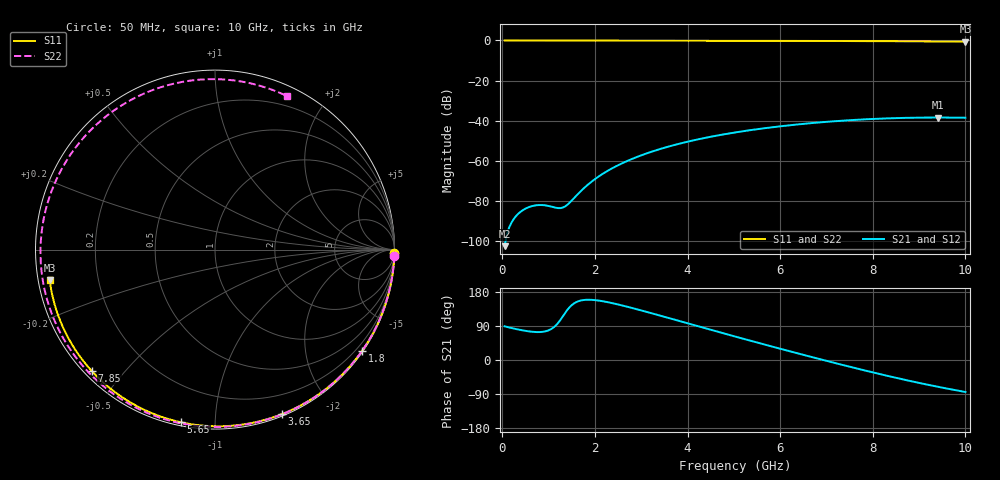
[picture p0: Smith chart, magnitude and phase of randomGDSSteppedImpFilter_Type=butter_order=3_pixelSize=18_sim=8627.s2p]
! freq	dB(S11)	phase(S11)	dB(S12)	phase(S12)
!  dB(S21)	phase(S21)	dB(S22)	phase(S22)
!S-par simulation data
#  GHz  S  DB  R 50
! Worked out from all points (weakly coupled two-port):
!   200 points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, 50 MHz to 10 GHz, reference 50 ohm
!   highest |S21| = -38.46 dB at 9.4 GHz (marker M1); lowest = -102.7 dB at 50 MHz (marker M2)
!   lowest |S11| = -0.6 dB at 10 GHz (marker M3), VSWR 30.55, Z = 1.65 - j4.54 ohm
!   |S11| at or under -10 dB: nowhere
!   |S22| runs from -0.5 to 0.0 dB; largest |S21 - S12| = 0
!   S11 on the Smith chart (normalised r, x): 50 MHz: open; 1.8 GHz: 0.03, -3.22; 3.65 GHz: 0.02, -1.49; 5.65 GHz: 0.02, -0.82; 7.85 GHz: 0.02, -0.41; 10 GHz: 0.03, -0.09
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0.05  -0.00 -1.0  -102.65 89.0  -102.65 89.0  -0.00 -2.0
0.7  -0.02 -13.6  -82.37 74.0  -82.37 74.0  -0.03 -27.1
1.1  -0.03 -21.2  -83.15 85.2  -83.15 85.2  -0.05 -42.1
1.5  -0.04 -28.8  -79.88 144.8  -79.88 144.8  -0.07 -56.7
1.75  -0.04 -33.5  -73.98 158.2  -73.98 158.2  -0.08 -65.5
1.8  -0.04 -34.5  -72.93 158.8  -72.93 158.8  -0.08 -67.2
2.1  -0.05 -40.0  -67.59 156.5  -67.59 156.5  -0.09 -77.4
2.45  -0.06 -46.5  -62.85 148.0  -62.85 148.0  -0.10 -88.9
2.9  -0.07 -54.6  -58.21 134.1  -58.21 134.1  -0.12 -103.0
3.4  -0.08 -63.5  -54.23 117.4  -54.23 117.4  -0.14 -117.8
3.65  -0.09 -67.9  -52.57 108.9  -52.57 108.9  -0.15 -124.9
4.35  -0.11 -79.8  -48.75 84.9  -48.75 84.9  -0.17 -144.1
5.05  -0.14 -91.4  -45.82 61.2  -45.82 61.2  -0.21 -162.4
5.65  -0.17 -101.1  -43.83 41.2  -43.83 41.2  -0.24 -177.7
6.15  -0.20 -109.0  -42.46 24.9  -42.46 24.9  -0.27 169.6
6.7  -0.23 -117.6  -41.20 7.2  -41.20 7.2  -0.30 155.6
7.25  -0.27 -126.1  -40.18 -10.0  -40.18 -10.0  -0.34 141.5
7.85  -0.32 -135.4  -39.34 -28.3  -39.34 -28.3  -0.37 125.6
8.35  -0.37 -143.1  -38.86 -42.8  -38.86 -42.8  -0.40 112.0
8.9  -0.43 -151.7  -38.55 -57.9  -38.55 -57.9  -0.43 96.7
9.4  -0.49 -159.7  -38.46 -70.5  -38.46 -70.5  -0.46 82.4
10  -0.57 -169.6  -38.57 -84.4  -38.57 -84.4  -0.50 64.9
